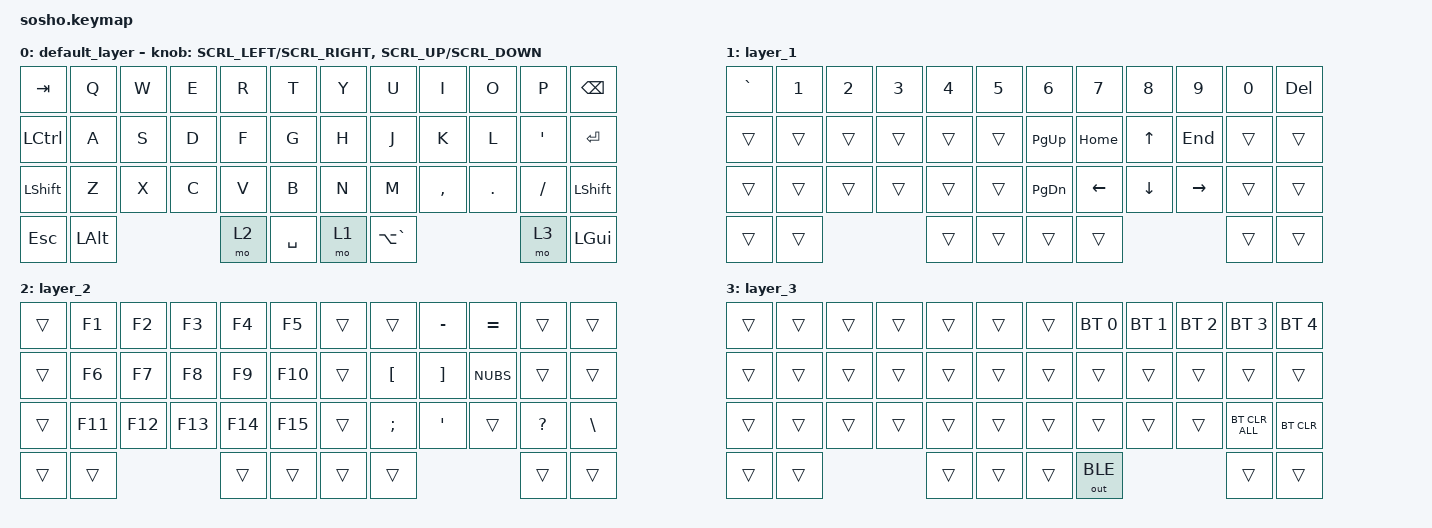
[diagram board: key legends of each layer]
//スクロール量の調整(デフォルト150)
#define ZMK_POINTING_DEFAULT_SCRL_VAL 150

#include <behaviors.dtsi>
#include <dt-bindings/zmk/bt.h>
#include <dt-bindings/zmk/keys.h>
#include <dt-bindings/zmk/pointing.h>
#include <dt-bindings/zmk/outputs.h>

/ {
	behaviors {
		//エンコーダにスクロールを割り当てるためのビヘイビア
		msc_ec_l: sensor_rotation_scroll_L {
	        compatible = "zmk,behavior-sensor-rotate-var";
            #sensor-binding-cells = <2>;
            bindings = <&msc>, <&msc>;
			tap-ms = <20>;
        };
		msc_ec_r: sensor_rotation_scroll_R {
	        compatible = "zmk,behavior-sensor-rotate-var";
            #sensor-binding-cells = <2>;
            bindings = <&msc>, <&msc>;
			tap-ms = <20>;
        };
	};
};

//スクロールの調整
&msc {
    time-to-max-speed-ms = <0>;   // 即座に最大速度（加速なし）
    acceleration-exponent = <0>;   // 加速なし
};
/{
    combos {
        compatible = "zmk,combos";
        prioritize-longer-keys;
		//左クリックのコンボ 19 J 20 K
	    combo_LCLK {
            timeout-ms = <50>;
            key-positions = <19 20>;
            bindings = <&mkp LCLK>;
        };

		//右クリックのコンボ 20 K 21 L
        combo_RCLK {
            timeout-ms = <50>;
            key-positions = <20 21>;
            bindings = <&mkp RCLK>;
        };

		//ホイールクリックのコンボ 19 J 21 L
	    combo_MCLK {
            timeout-ms = <90>;
            key-positions = <19 21>;
            bindings = <&mkp MCLK>;
        };

		//作ったけど消した。ポインティングデバイスをスクロールにしたい人向け
		//31 M 32 ,
		combo_SCROLL {
            timeout-ms = <50>;
            key-positions = <31 32>;
            bindings = <&mo 4>;
        };
    };

    keymap {
        compatible = "zmk,keymap";

        default_layer {
            bindings = <
                &kp TAB    &kp Q   &kp W  &kp E  &kp R  &kp T      &kp Y  &kp U  &kp I      &kp O    &kp P     &kp BSPC
                &kp LCTRL  &kp A   &kp S  &kp D  &kp F  &kp G      &kp H  &kp J  &kp K      &kp L    &kp SQT   &kp ENTER
                &kp LSHFT  &kp Z   &kp X  &kp C  &kp V  &kp B      &kp N  &kp M  &kp COMMA  &kp DOT  &kp SLASH &kp LSHFT
                &kp ESC    &kp LALT              &mo 2  &kp SPACE  &mo 1  &kp LA(GRAVE)              &mo 3     &kp LGUI
            >;
            //&msc_ec_lとrは、上のビヘイビアで作ったもの。
            sensor-bindings = <&msc_ec_l SCRL_LEFT SCRL_RIGHT &msc_ec_r SCRL_UP SCRL_DOWN>;
        };
        
        layer_1 {
            bindings = <
                &kp GRAVE &kp N1  &kp N2  &kp N3  &kp N4  &kp N5       &kp N6    &kp N7   &kp N8   &kp N9    &kp N0 &kp DEL
                &trans    &trans &trans &trans &trans &trans           &kp PG_UP &kp HOME &kp UP   &kp END   &trans &trans
                &trans    &trans &trans &trans &trans &trans           &kp PG_DN &kp LEFT &kp DOWN &kp RIGHT &trans &trans
                &trans    &trans               &trans &trans           &trans    &trans                      &trans &trans
            >;
        };

        layer_2 {
            bindings = <
                &trans &kp F1  &kp F2  &kp F3  &kp F4  &kp F5     &trans  &trans    &kp MINUS &kp EQUAL &trans     &trans
                &trans &kp F6  &kp F7  &kp F8  &kp F9  &kp F10    &trans  &kp LBKT  &kp RBKT  &kp NUBS  &trans     &trans
                &trans &kp F11 &kp F12 &kp F13 &kp F14 &kp F15    &trans  &kp SEMI  &kp SQT   &trans    &kp QMARK  &kp BSLH
                &trans &trans                  &trans  &trans     &trans  &trans                        &trans     &trans
            >;
        };

        layer_3 {
            bindings = <
                &trans &trans &trans &trans &trans &trans      &trans  &bt BT_SEL 0  &bt BT_SEL 1  &bt BT_SEL 2  &bt BT_SEL 3   &bt BT_SEL 4
                &trans &trans &trans &trans &trans &trans      &trans  &trans        &trans        &trans        &trans         &trans
                &trans &trans &trans &trans &trans &trans      &trans  &trans        &trans        &trans        &bt BT_CLR_ALL &bt BT_CLR
                &trans &trans               &trans &trans      &trans  &out OUT_BLE                                    &trans         &trans
            >;
        };
        //scroll {
        //    status = "reserved";
        //};
        //extra2 {
        //    status = "reserved";
        //};
    };
};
